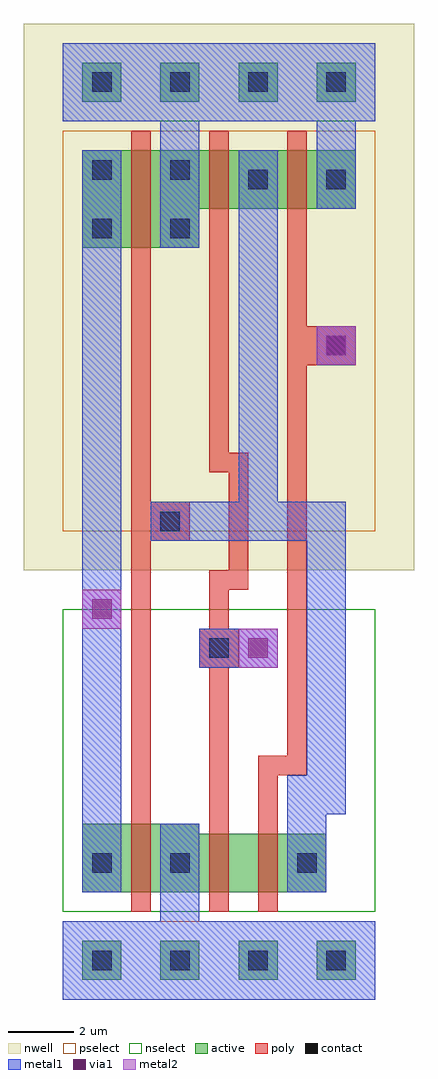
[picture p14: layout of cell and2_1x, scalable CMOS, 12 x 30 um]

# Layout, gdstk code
import gdstk
lib = gdstk.Library(unit=1e-6, precision=1e-09)
def R(c, l, rs):  # rectangles x0, y0, x1, y1
    for r in rs: c.add(gdstk.rectangle(r[:2], r[2:], *l))
def A(c, l, x, y, w, h, nx, ny, dx, dy):  # array of equal rectangles
    R(c, l, [(x+i*dx, y+j*dy, x+i*dx+w, y+j*dy+h) for i in range(nx) for j in range(ny)])
def P(c, l, *ps):  # polygons
    for p in ps: c.add(gdstk.Polygon(p, *l))
contact = (25, 0)
nwell = (42, 0)
active = (43, 0)
pselect = (44, 0)
nselect = (45, 0)
poly = (46, 0)
metal1 = (49, 0)
via1 = (50, 0)
metal2 = (51, 0)

and2_1x = lib.new_cell('and2_1x')
A(and2_1x, contact, 0.9, -0.3, 0.6, 0.6, 4, 2, 2.4, 27)
R(and2_1x, contact, [(0.9,2.7,1.5,3.3), (3.3,2.7,3.9,3.3), (7.2,2.7,7.8,3.3), (4.5,9.3,5.1,9.9), (3,13.2,3.6,13.8), (8.1,18.6,8.7,19.2), (0.9,22.2,1.5,22.8), (3.3,22.2,3.9,22.8), (5.7,23.7,6.3,24.3), (8.1,23.7,8.7,24.3), (0.9,24,1.5,24.6), (3.3,24,3.9,24.6)])
R(and2_1x, nwell, [(-1.2,12,10.8,28.8)])
A(and2_1x, active, 0.6, -0.6, 1.2, 1.2, 4, 2, 2.4, 27)
P(and2_1x, active, [(9,24.9),(0.6,24.9),(0.6,21.9),(4.2,21.9),(4.2,23.1),(9,23.1)],
  [(8.1,3.9),(4.2,3.9),(4.2,4.2),(0.6,4.2),(0.6,2.1),(8.1,2.1)])
R(and2_1x, pselect, [(0,-1.2,9.6,1.2), (0,13.2,9.6,25.5)])
R(and2_1x, nselect, [(0,1.5,9.6,10.8), (0,25.8,9.6,28.2)])
P(and2_1x, poly, [(3.9,14.1),(2.7,14.1),(2.7,25.5),(2.1,25.5),(2.1,1.5),(2.7,1.5),(2.7,12.9),(3.9,12.9)],
  [(5.7,15.6),(5.1,15.6),(5.1,25.5),(4.5,25.5),(4.5,15),(5.1,15),(5.1,12),(4.5,12),(4.5,10.2),(4.2,10.2),(4.2,9),(4.5,9),(4.5,1.5),(5.1,1.5),(5.1,9),(5.4,9),(5.4,10.2),(5.1,10.2),(5.1,11.4),(5.7,11.4)],
  [(9,19.5),(7.5,19.5),(7.5,25.5),(6.9,25.5),(6.9,6.3),(6,6.3),(6,1.5),(6.6,1.5),(6.6,5.7),(7.5,5.7),(7.5,18.3),(9,18.3)])
R(and2_1x, metal1, [(0,-1.2,9.6,1.2), (0.6,2.1,1.8,24.9), (4.2,9,6.6,10.2), (7.8,18.3,9,19.5), (0,25.8,9.6,28.2)])
P(and2_1x, metal1, [(8.7,14.1),(6.6,14.1),(6.6,24.9),(5.4,24.9),(5.4,14.1),(2.7,14.1),(2.7,12.9),(7.5,12.9),(7.5,5.7),(6.9,5.7),(6.9,2.1),(8.1,2.1),(8.1,4.5),(8.7,4.5)],
  [(9.6,28.2),(0,28.2),(0,25.8),(3,25.8),(3,21.9),(4.2,21.9),(4.2,25.8),(7.8,25.8),(7.8,23.1),(9,23.1),(9,25.8),(9.6,25.8)],
  [(9.6,1.2),(4.2,1.2),(4.2,4.2),(3,4.2),(3,1.2),(0,1.2),(0,-1.2),(9.6,-1.2)])
R(and2_1x, via1, [(5.7,9.3,6.3,9.9), (0.9,10.5,1.5,11.1), (8.1,18.6,8.7,19.2)])
R(and2_1x, metal2, [(5.4,9,6.6,10.2), (0.6,10.2,1.8,11.4), (7.8,18.3,9,19.5)])

lib.write_gds('and2_1x.gds')
